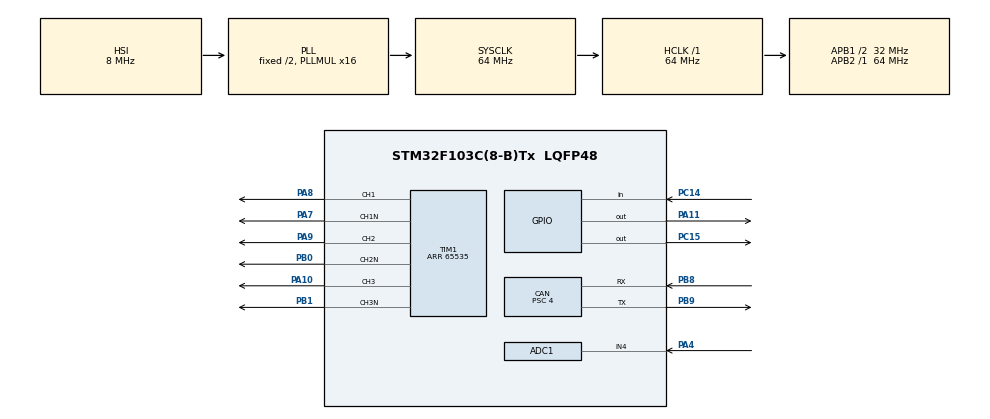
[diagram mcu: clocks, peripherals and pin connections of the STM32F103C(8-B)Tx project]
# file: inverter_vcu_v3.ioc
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ADC1.Channel-0\#ChannelRegularConversion=ADC_CHANNEL_4
ADC1.NbrOfConversionFlag=1
ADC1.Rank-0\#ChannelRegularConversion=1
ADC1.SamplingTime-0\#ChannelRegularConversion=ADC_SAMPLETIME_1CYCLE_5
ADC1.master=1
CAN.BS1=CAN_BS1_13TQ
CAN.BS2=CAN_BS2_2TQ
CAN.CalculateBaudRate=500000
CAN.CalculateTimeBit=2000
CAN.CalculateTimeQuantum=125.0
CAN.Prescaler=4
Mcu.Family=STM32F1
Mcu.Name=STM32F103C(8-B)Tx
Mcu.Package=LQFP48
NVIC.CAN1_RX1_IRQn=true\:0\:0\:false\:false\:true\:true\:true\:true
NVIC.PriorityGroup=NVIC_PRIORITYGROUP_4
NVIC.TIM1_UP_IRQn=true\:0\:0\:false\:false\:true\:true\:true\:true
NVIC.USB_LP_CAN1_RX0_IRQn=true\:0\:0\:false\:false\:true\:true\:true\:true
PA10.Signal=S_TIM1_CH3
PA11.Signal=GPIO_Output
PA4.Signal=ADCx_IN4
PA7.Mode=PWM Generation1 CH1 CH1N
PA7.Signal=TIM1_CH1N
PA8.Signal=S_TIM1_CH1
PA9.Signal=S_TIM1_CH2
PB0.Mode=PWM Generation2 CH2 CH2N
PB0.Signal=TIM1_CH2N
PB1.Mode=PWM Generation3 CH3 CH3N
PB1.Signal=TIM1_CH3N
PB8.Mode=CAN_Activate
PB8.Signal=CAN_RX
PB9.Mode=CAN_Activate
PB9.Signal=CAN_TX
PC14-OSC32_IN.Signal=GPIO_Input
PC15-OSC32_OUT.Signal=GPIO_Output
ProjectManager.HeapSize=0x200
ProjectManager.StackSize=0x400
ProjectManager.TargetToolchain=STM32CubeIDE
RCC.ADCPresc=RCC_ADCPCLK2_DIV6
RCC.AHBFreq_Value=64000000
RCC.APB1CLKDivider=RCC_HCLK_DIV2
RCC.APB1Freq_Value=32000000
RCC.APB1TimFreq_Value=64000000
RCC.APB2Freq_Value=64000000
RCC.APB2TimFreq_Value=64000000
RCC.HCLKFreq_Value=64000000
RCC.HSE_VALUE=16000000
RCC.PLLMUL=RCC_PLL_MUL16
RCC.SYSCLKFreq_VALUE=64000000
RCC.SYSCLKSource=RCC_SYSCLKSOURCE_PLLCLK
RCC.USBFreq_Value=64000000
SH.ADCx_IN4.0=ADC1_IN4,IN4
SH.S_TIM1_CH1.0=TIM1_CH1,PWM Generation1 CH1 CH1N
SH.S_TIM1_CH2.0=TIM1_CH2,PWM Generation2 CH2 CH2N
SH.S_TIM1_CH3.0=TIM1_CH3,PWM Generation3 CH3 CH3N
TIM1.AutoReloadPreload=TIM_AUTORELOAD_PRELOAD_DISABLE
TIM1.AutomaticOutput=TIM_AUTOMATICOUTPUT_DISABLE
TIM1.BreakState=TIM_BREAK_DISABLE
TIM1.Channel-PWM\ Generation1\ CH1\ CH1N=TIM_CHANNEL_1
TIM1.Channel-PWM\ Generation2\ CH2\ CH2N=TIM_CHANNEL_2
TIM1.Channel-PWM\ Generation3\ CH3\ CH3N=TIM_CHANNEL_3
TIM1.DeadTime=150
TIM1.OCMode_PWM-PWM\ Generation1\ CH1\ CH1N=TIM_OCMODE_PWM1
TIM1.OCNIdleState_1=TIM_OCNIDLESTATE_RESET
TIM1.OCNIdleState_2=TIM_OCNIDLESTATE_RESET
TIM1.OCNIdleState_3=TIM_OCNIDLESTATE_RESET
TIM1.OCNPolarity_1=TIM_OCNPOLARITY_HIGH
TIM1.OCNPolarity_2=TIM_OCNPOLARITY_HIGH
TIM1.OCNPolarity_3=TIM_OCNPOLARITY_HIGH
TIM1.Period=65535
TIM1.TIM_MasterSlaveMode=TIM_MASTERSLAVEMODE_DISABLE
VP_SYS_VS_ND.Mode=No_Debug
VP_TIM1_VS_ClockSourceINT.Mode=Internal
board=custom

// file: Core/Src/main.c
/* USER CODE BEGIN Header */
/**
  ******************************************************************************
  * @file           : main.c
  * @brief          : Main program body
  ******************************************************************************
  * @attention
  *
  * Copyright (c) 2023 STMicroelectronics.
  * All rights reserved.
  *
  * This software is licensed under terms that can be found in the LICENSE file
  * in the root directory of this software component.
  * If no LICENSE file comes with this software, it is provided AS-IS.
  *
  ******************************************************************************
  */
/* USER CODE END Header */
#include "main.h"

/* USER CODE BEGIN Includes */
#include <stdbool.h>

#include "string.h"
#include "stdio.h"
#include "math.h"
#include "stdlib.h"

/* USER CODE END Includes */

/* USER CODE BEGIN PTD */

enum ERROR_CODE{
	CAN_ERROR,
	TEMP_ERROR,
	PRESSURE_1_ERROR,
	IMD_ERROR,
	MVCU_ERROR
};

/* USER CODE END PTD */

ADC_HandleTypeDef hadc1;

CAN_HandleTypeDef hcan;

TIM_HandleTypeDef htim1;

/* USER CODE BEGIN PV */

CAN_RxHeaderTypeDef RxHeader;
CAN_TxHeaderTypeDef TxHeader;
uint32_t TxMailbox;
uint8_t CAN_DATA_BUFF[8];
uint8_t CAN_DATA_Tx[8];
volatile uint8_t temp1;
volatile uint8_t temp1_arr[2];

int START_FLAG = 0;
uint8_t SYSTEM_STATE = 0;
int ERROR_CODE = '0';

HAL_StatusTypeDef ret;

uint16_t samples;
uint16_t * lookUp;
uint16_t num1 = 0, num2, num3;
uint16_t count = 0;
bool directionReversed = false;
uint8_t sw, frequency, amplitude;

/* USER CODE END PV */

void SystemClock_Config(void);
static void MX_GPIO_Init(void);
static void MX_TIM1_Init(void);
static void MX_ADC1_Init(void);
static void MX_CAN_Init(void);
/* USER CODE BEGIN PFP */
void startSPWM(float switchingFreq, float sinFreq, float amp, bool reversed);
void invCommand(uint8_t sw1, uint8_t amplitude1, uint8_t frequency1);
void stopSPWM();
void ERROR_FUNCTION(int error_code);
uint8_t getTemp(uint8_t a);
/* USER CODE END PFP */

/* USER CODE BEGIN 0 */

void HAL_CAN_RxFifo0MsgPendingCallback(CAN_HandleTypeDef *hcan){

	if(HAL_CAN_GetRxMessage(hcan, CAN_RX_FIFO0, &RxHeader, CAN_DATA_BUFF) != HAL_OK){
		ERROR_FUNCTION(CAN_ERROR);
	}
	invCommand(CAN_DATA_BUFF[0],CAN_DATA_BUFF[2] , CAN_DATA_BUFF[1]);
	/*switch(CAN_DATA_BUFF[0]){
		case 0: SYSTEM_STATE = 0;
				invCommand(0, 0, 0);
				break;

		case 1: SYSTEM_STATE = 1;
				uint8_t freq;
				switch(CAN_DATA_BUFF[1]){
					case 1: freq  = 10;
					case 2: freq = 15;
					case 3: freq = 20;
					case 4: freq = 25;
					case 5: freq = 30;
					case 6: freq = 35;
					case 7: freq = 40;
					case 8: freq = 45;
					case 9: freq = 50;
					default: freq = 0;
				}
				uint8_t amp = CAN_DATA_BUFF[2] / 10;
				invCommand(1, amp, freq);
				break;

		case 2: SYSTEM_STATE = 2;
				invCommand(0, 0, 0);
				break;

		default:invCommand(0, 0, 0);
				break;
	}*/

}

/*void HAL_CAN_RxFifo1MsgPendingCallback(CAN_HandleTypeDef *hcan){

	uint8_t imd_can[8];

	if(HAL_CAN_GetRxMessage(hcan, CAN_RX_FIFO1, &RxHeader, imd_can) != HAL_OK){
		ERROR_FUNCTION(CAN_ERROR);
	}
	if(RxHeader.StdId == 0x37){
		if(imd_can[2] != 0){
			ERROR_FUNCTION(IMD_ERROR);
		}
		else if(imd_can[3] != 0){
			ERROR_FUNCTION(IMD_ERROR);
		}
	}
	CAN_DATA_Tx[5] = '0';
	CAN_DATA_Tx[6] = '0';

}*/

uint8_t getTemp(uint8_t a){
	float adc_val;
 	float beta_val=4304.05;
	float Vin= 5.00;
	float Rs=20000.00;
	float R25=32762.00;

	ret = HAL_ADC_Start(&hadc1);
		if(ret != HAL_OK)
		{
			return -1;
		}
	  ret = HAL_ADC_PollForConversion(&hadc1, 50);
		if(ret != HAL_OK)
		{
			return -1;
		}
	  adc_val = HAL_ADC_GetValue(&hadc1); // get the adc value
	  float Vout = adc_val * (Vin/4095.00); //4095 = 12 bit resolution
	  float Rt = (Vout * Rs) / (Vin - Vout);
	  float temperature = (1/((1/298.15)+(log(Rt/R25)/beta_val))-272.5);

	//if(a == 1){
		//uint8_t temp1 = 28;
	    uint8_t temp1 = temperature;
		if(temp1>40){
			CAN_DATA_Tx[1] = 2;					//using 2 for temp1 error
		}
		temp1_arr[1] = temp1%10; 				//first digit(tens place)
 		temp1_arr[0] = temp1 - temp1_arr[1];	//second digit (one's place)
		temp1_arr[0] = temp1_arr[0]/10;

		temp1_arr[1] = temp1_arr[1] + '0';		//ascii value of resp dec value taken
		temp1_arr[0] = temp1_arr[0] + '0';

		return temp1;
	//}

}

void ERROR_FUNCTION(int error_code){
	//HAL_GPIO_WritePin(GPIOA, GPIO_PIN_6, GPIO_PIN_RESET);
	invCommand(0, 0, 0);
	SYSTEM_STATE = 0;
	CAN_DATA_Tx[0] = SYSTEM_STATE;
	CAN_DATA_Tx[1] = error_code;
	HAL_CAN_AddTxMessage(&hcan, &TxHeader, CAN_DATA_Tx, &TxMailbox);
	__disable_irq();
	while(1){
		HAL_GPIO_TogglePin(GPIOB, GPIO_PIN_12);
		HAL_GPIO_TogglePin(GPIOB, GPIO_PIN_13);
		HAL_GPIO_TogglePin(GPIOB, GPIO_PIN_14);
		HAL_GPIO_TogglePin(GPIOB, GPIO_PIN_15);
		HAL_GPIO_TogglePin(GPIOB, GPIO_PIN_2);
		HAL_Delay(50);

		/*HAL_GPIO_WritePin(GPIOB, GPIO_PIN_12, GPIO_PIN_SET);
		HAL_GPIO_WritePin(GPIOB, GPIO_PIN_13, GPIO_PIN_SET);
		HAL_GPIO_WritePin(GPIOB, GPIO_PIN_14, GPIO_PIN_SET);
		HAL_GPIO_WritePin(GPIOB, GPIO_PIN_15, GPIO_PIN_SET);
		HAL_GPIO_WritePin(GPIOB, GPIO_PIN_2, GPIO_PIN_SET);*/
	}
}
/* USER CODE END 0 */

int main(void)
{

  /* MCU Configuration--------------------------------------------------------*/

  /* Reset of all peripherals, Initializes the Flash interface and the Systick. */
  HAL_Init();

  /* Configure the system clock */
  SystemClock_Config();

  /* Initialize all configured peripherals */
  MX_GPIO_Init();
  MX_TIM1_Init();
  MX_ADC1_Init();
  MX_CAN_Init();
  /* USER CODE BEGIN 2 */

    HAL_CAN_Start(&hcan);
    HAL_CAN_ActivateNotification(&hcan, CAN_IT_RX_FIFO0_MSG_PENDING);

    CAN_DATA_Tx[4] = ',';
    CAN_DATA_Tx[7] = ',';
    TxHeader.DLC = 8;
  	TxHeader.StdId = 0x302;
  	TxHeader.IDE = CAN_ID_STD;
  	TxHeader.RTR = CAN_RTR_DATA;

  /* USER CODE END 2 */

  /* Infinite loop */
  /* USER CODE BEGIN WHILE */
  while (1)
  {

	  /*if(HAL_GPIO_ReadPin(GPIOC, GPIO_PIN_14)!= GPIO_PIN_SET){
	 		  ERROR_FUNCTION(MVCU_ERROR);
	 	  }*/
	  while(SYSTEM_STATE == 1){
		  /*if(HAL_GPIO_ReadPin(GPIOC, GPIO_PIN_14)!= GPIO_PIN_SET){
		  	 		  ERROR_FUNCTION(MVCU_ERROR);
		  	 	  }*/
	  		  temp1 = getTemp(1);

	  		  CAN_DATA_Tx[0] = SYSTEM_STATE;
	  		  CAN_DATA_Tx[1] = ERROR_CODE;
	  		  CAN_DATA_Tx[2] = temp1_arr[0];
	  		  CAN_DATA_Tx[3] = temp1_arr[1];

	  		  if(HAL_CAN_AddTxMessage(&hcan, &TxHeader, CAN_DATA_Tx, &TxMailbox) != HAL_OK){
	  			  ERROR_FUNCTION(CAN_ERROR);
	  		  }
	  		HAL_GPIO_WritePin(GPIOC, GPIO_PIN_15, GPIO_PIN_SET);
	  		  HAL_Delay(150);
	  	  }
	  	  while(SYSTEM_STATE == 2){
	  		/*if(HAL_GPIO_ReadPin(GPIOC, GPIO_PIN_14)!= GPIO_PIN_SET){
	  			 		  ERROR_FUNCTION(MVCU_ERROR);
	  			 	  }*/
	  		  temp1 = getTemp(1);

	  		  CAN_DATA_Tx[0] = SYSTEM_STATE;
	  		  CAN_DATA_Tx[1] = ERROR_CODE;
	  		  CAN_DATA_Tx[2] = temp1_arr[0];
	  		  CAN_DATA_Tx[3] = temp1_arr[1];

	  		  if(HAL_CAN_AddTxMessage(&hcan, &TxHeader, CAN_DATA_Tx, &TxMailbox) != HAL_OK){
	  			  ERROR_FUNCTION(CAN_ERROR);
	  		  }
	  		  HAL_GPIO_TogglePin(GPIOC, GPIO_PIN_15);
	  		  HAL_Delay(750);
	  	  }
	  	  if(SYSTEM_STATE == 0){
	  		/*if(HAL_GPIO_ReadPin(GPIOC, GPIO_PIN_14)!= GPIO_PIN_SET){
	  			 		  ERROR_FUNCTION(MVCU_ERROR);
	  			 	  }*/

	  			HAL_GPIO_WritePin(GPIOC, GPIO_PIN_15, GPIO_PIN_RESET);
	  	  }

    /* USER CODE END WHILE */

    /* USER CODE BEGIN 3 */

	 /* for (float f = 10; f < 300; f+=10) {
		  startSPWM(f*100, f, (f / 450.0) + 0.25);
		  HAL_Delay(200);
	  }
	  for (float f = 300; f > 10; f-=10) {
	  		  startSPWM(f * 100, f, (f / 450.0) + 0.25);
	  		  HAL_Delay(200);
	  	  }*/

  }
  /* USER CODE END 3 */
}

void SystemClock_Config(void)
{
  RCC_OscInitTypeDef RCC_OscInitStruct = {0};
  RCC_ClkInitTypeDef RCC_ClkInitStruct = {0};
  RCC_PeriphCLKInitTypeDef PeriphClkInit = {0};

  /** Initializes the RCC Oscillators according to the specified parameters
  * in the RCC_OscInitTypeDef structure.
  */
  RCC_OscInitStruct.OscillatorType = RCC_OSCILLATORTYPE_HSI;
  RCC_OscInitStruct.HSIState = RCC_HSI_ON;
  RCC_OscInitStruct.HSICalibrationValue = RCC_HSICALIBRATION_DEFAULT;
  RCC_OscInitStruct.PLL.PLLState = RCC_PLL_ON;
  RCC_OscInitStruct.PLL.PLLSource = RCC_PLLSOURCE_HSI_DIV2;
  RCC_OscInitStruct.PLL.PLLMUL = RCC_PLL_MUL16;
  if (HAL_RCC_OscConfig(&RCC_OscInitStruct) != HAL_OK)
  {
    Error_Handler();
  }

  /** Initializes the CPU, AHB and APB buses clocks
  */
  RCC_ClkInitStruct.ClockType = RCC_CLOCKTYPE_HCLK|RCC_CLOCKTYPE_SYSCLK
                              |RCC_CLOCKTYPE_PCLK1|RCC_CLOCKTYPE_PCLK2;
  RCC_ClkInitStruct.SYSCLKSource = RCC_SYSCLKSOURCE_PLLCLK;
  RCC_ClkInitStruct.AHBCLKDivider = RCC_SYSCLK_DIV1;
  RCC_ClkInitStruct.APB1CLKDivider = RCC_HCLK_DIV2;
  RCC_ClkInitStruct.APB2CLKDivider = RCC_HCLK_DIV1;

  if (HAL_RCC_ClockConfig(&RCC_ClkInitStruct, FLASH_LATENCY_2) != HAL_OK)
  {
    Error_Handler();
  }
  PeriphClkInit.PeriphClockSelection = RCC_PERIPHCLK_ADC;
  PeriphClkInit.AdcClockSelection = RCC_ADCPCLK2_DIV6;
  if (HAL_RCCEx_PeriphCLKConfig(&PeriphClkInit) != HAL_OK)
  {
    Error_Handler();
  }
}

static void MX_ADC1_Init(void)
{

  ADC_ChannelConfTypeDef sConfig = {0};

  /** Common config
  */
  hadc1.Instance = ADC1;
  hadc1.Init.ScanConvMode = ADC_SCAN_DISABLE;
  hadc1.Init.ContinuousConvMode = DISABLE;
  hadc1.Init.DiscontinuousConvMode = DISABLE;
  hadc1.Init.ExternalTrigConv = ADC_SOFTWARE_START;
  hadc1.Init.DataAlign = ADC_DATAALIGN_RIGHT;
  hadc1.Init.NbrOfConversion = 1;
  if (HAL_ADC_Init(&hadc1) != HAL_OK)
  {
    Error_Handler();
  }

  /** Configure Regular Channel
  */
  sConfig.Channel = ADC_CHANNEL_4;
  sConfig.Rank = ADC_REGULAR_RANK_1;
  sConfig.SamplingTime = ADC_SAMPLETIME_1CYCLE_5;
  if (HAL_ADC_ConfigChannel(&hadc1, &sConfig) != HAL_OK)
  {
    Error_Handler();
  }

}

static void MX_CAN_Init(void)
{

  hcan.Instance = CAN1;
  hcan.Init.Prescaler = 4;
  hcan.Init.Mode = CAN_MODE_NORMAL;
  hcan.Init.SyncJumpWidth = CAN_SJW_1TQ;
  hcan.Init.TimeSeg1 = CAN_BS1_13TQ;
  hcan.Init.TimeSeg2 = CAN_BS2_2TQ;
  hcan.Init.TimeTriggeredMode = DISABLE;
  hcan.Init.AutoBusOff = DISABLE;
  hcan.Init.AutoWakeUp = DISABLE;
  hcan.Init.AutoRetransmission = DISABLE;
  hcan.Init.ReceiveFifoLocked = DISABLE;
  hcan.Init.TransmitFifoPriority = DISABLE;
  if (HAL_CAN_Init(&hcan) != HAL_OK)
  {
    Error_Handler();
  }
  /* USER CODE BEGIN CAN_Init 2 */

  	  CAN_FilterTypeDef CAN_Filter;

    	CAN_Filter.FilterActivation = CAN_FILTER_ENABLE;
    	CAN_Filter.FilterBank  = 10;
    	CAN_Filter.FilterFIFOAssignment = CAN_RX_FIFO0;
  	//CAN_Filter.FilterIdHigh = 0x0000;
    	CAN_Filter.FilterIdHigh = 0x103<<5;
    	CAN_Filter.FilterIdLow = 0x0000;
  	//CAN_Filter.FilterMaskIdHigh = 0X0000;
    	CAN_Filter.FilterMaskIdHigh = 0x103<<5;
    	CAN_Filter.FilterMaskIdLow = 0x0000;
    	CAN_Filter.FilterMode = CAN_FILTERMODE_IDMASK;
    	CAN_Filter.FilterScale = CAN_FILTERSCALE_32BIT;

  	if( HAL_CAN_ConfigFilter(&hcan,&CAN_Filter) != HAL_OK)
  	{
  		Error_Handler();
  	}

  	/*CAN_FilterTypeDef CAN_Filter_IMD;

  	CAN_Filter_IMD.FilterActivation = CAN_FILTER_ENABLE;
  	CAN_Filter_IMD.FilterBank  = 10;
  	CAN_Filter_IMD.FilterFIFOAssignment = CAN_RX_FIFO1;
	//CAN_Filter_IMD.FilterIdHigh = 0x0000;
  	CAN_Filter_IMD.FilterIdHigh = 0x037<<5;
  	CAN_Filter_IMD.FilterIdLow = 0x0000;
	//CAN_Filter_IMD.FilterMaskIdHigh = 0X0000;
  	CAN_Filter_IMD.FilterMaskIdHigh = 0x037<<5;
  	CAN_Filter_IMD.FilterMaskIdLow = 0x0000;
  	CAN_Filter_IMD.FilterMode = CAN_FILTERMODE_IDMASK;
  	CAN_Filter_IMD.FilterScale = CAN_FILTERSCALE_32BIT;

	if( HAL_CAN_ConfigFilter(&hcan,&CAN_Filter_IMD) != HAL_OK)
	{
		Error_Handler();
	}*/

  /* USER CODE END CAN_Init 2 */

}

static void MX_TIM1_Init(void)
{

  TIM_ClockConfigTypeDef sClockSourceConfig = {0};
  TIM_MasterConfigTypeDef sMasterConfig = {0};
  TIM_OC_InitTypeDef sConfigOC = {0};
  TIM_BreakDeadTimeConfigTypeDef sBreakDeadTimeConfig = {0};

  htim1.Instance = TIM1;
  htim1.Init.Prescaler = 0;
  htim1.Init.CounterMode = TIM_COUNTERMODE_UP;
  htim1.Init.Period = 65535;
  htim1.Init.ClockDivision = TIM_CLOCKDIVISION_DIV1;
  htim1.Init.RepetitionCounter = 0;
  htim1.Init.AutoReloadPreload = TIM_AUTORELOAD_PRELOAD_DISABLE;
  if (HAL_TIM_Base_Init(&htim1) != HAL_OK)
  {
    Error_Handler();
  }
  sClockSourceConfig.ClockSource = TIM_CLOCKSOURCE_INTERNAL;
  if (HAL_TIM_ConfigClockSource(&htim1, &sClockSourceConfig) != HAL_OK)
  {
    Error_Handler();
  }
  if (HAL_TIM_PWM_Init(&htim1) != HAL_OK)
  {
    Error_Handler();
  }
  sMasterConfig.MasterOutputTrigger = TIM_TRGO_RESET;
  sMasterConfig.MasterSlaveMode = TIM_MASTERSLAVEMODE_DISABLE;
  if (HAL_TIMEx_MasterConfigSynchronization(&htim1, &sMasterConfig) != HAL_OK)
  {
    Error_Handler();
  }
  sConfigOC.OCMode = TIM_OCMODE_PWM1;
  sConfigOC.Pulse = 0;
  sConfigOC.OCPolarity = TIM_OCPOLARITY_HIGH;
  sConfigOC.OCNPolarity = TIM_OCNPOLARITY_HIGH;
  sConfigOC.OCFastMode = TIM_OCFAST_DISABLE;
  sConfigOC.OCIdleState = TIM_OCIDLESTATE_RESET;
  sConfigOC.OCNIdleState = TIM_OCNIDLESTATE_RESET;
  if (HAL_TIM_PWM_ConfigChannel(&htim1, &sConfigOC, TIM_CHANNEL_1) != HAL_OK)
  {
    Error_Handler();
  }
  if (HAL_TIM_PWM_ConfigChannel(&htim1, &sConfigOC, TIM_CHANNEL_2) != HAL_OK)
  {
    Error_Handler();
  }
  if (HAL_TIM_PWM_ConfigChannel(&htim1, &sConfigOC, TIM_CHANNEL_3) != HAL_OK)
  {
    Error_Handler();
  }
  sBreakDeadTimeConfig.OffStateRunMode = TIM_OSSR_DISABLE;
  sBreakDeadTimeConfig.OffStateIDLEMode = TIM_OSSI_DISABLE;
  sBreakDeadTimeConfig.LockLevel = TIM_LOCKLEVEL_OFF;
  sBreakDeadTimeConfig.DeadTime = 150;
  sBreakDeadTimeConfig.BreakState = TIM_BREAK_DISABLE;
  sBreakDeadTimeConfig.BreakPolarity = TIM_BREAKPOLARITY_HIGH;
  sBreakDeadTimeConfig.AutomaticOutput = TIM_AUTOMATICOUTPUT_DISABLE;
  if (HAL_TIMEx_ConfigBreakDeadTime(&htim1, &sBreakDeadTimeConfig) != HAL_OK)
  {
    Error_Handler();
  }
  /* USER CODE BEGIN TIM1_Init 2 */
  //TIM1->ARR = 14400;
  /* USER CODE END TIM1_Init 2 */
  HAL_TIM_MspPostInit(&htim1);

}

static void MX_GPIO_Init(void)
{
  GPIO_InitTypeDef GPIO_InitStruct = {0};

  /* GPIO Ports Clock Enable */
  __HAL_RCC_GPIOC_CLK_ENABLE();
  __HAL_RCC_GPIOA_CLK_ENABLE();
  __HAL_RCC_GPIOB_CLK_ENABLE();

  /*Configure GPIO pin Output Level */
  HAL_GPIO_WritePin(GPIOC, GPIO_PIN_15, GPIO_PIN_RESET);

  /*Configure GPIO pin Output Level */
  HAL_GPIO_WritePin(GPIOA, GPIO_PIN_11, GPIO_PIN_RESET);

  /*Configure GPIO pin : PC14 */
  GPIO_InitStruct.Pin = GPIO_PIN_14;
  GPIO_InitStruct.Mode = GPIO_MODE_INPUT;
  GPIO_InitStruct.Pull = GPIO_NOPULL;
  HAL_GPIO_Init(GPIOC, &GPIO_InitStruct);

  /*Configure GPIO pin : PC15 */
  GPIO_InitStruct.Pin = GPIO_PIN_15;
  GPIO_InitStruct.Mode = GPIO_MODE_OUTPUT_PP;
  GPIO_InitStruct.Pull = GPIO_NOPULL;
  GPIO_InitStruct.Speed = GPIO_SPEED_FREQ_LOW;
  HAL_GPIO_Init(GPIOC, &GPIO_InitStruct);

  /*Configure GPIO pin : PA11 */
  GPIO_InitStruct.Pin = GPIO_PIN_11;
  GPIO_InitStruct.Mode = GPIO_MODE_OUTPUT_PP;
  GPIO_InitStruct.Pull = GPIO_NOPULL;
  GPIO_InitStruct.Speed = GPIO_SPEED_FREQ_LOW;
  HAL_GPIO_Init(GPIOA, &GPIO_InitStruct);

}

/* USER CODE BEGIN 4 */
void invCommand(uint8_t sw1, uint8_t amplitude1, uint8_t frequency1) {

	sw = sw1;
	amplitude = amplitude1;
	frequency = (frequency1 * 5) + 5;

}
void startSPWM(float switchingFreq, float sinFreq, float amp, bool reversed) { //amp 0 to 1 and sinfrq > 0.01 to 10000 and switchingfreq from 100+
	HAL_TIM_PWM_Stop(&htim1, TIM_CHANNEL_1);//max switching freq to sinfreq ratio is 25000
	HAL_TIMEx_PWMN_Stop(&htim1, TIM_CHANNEL_1);
	HAL_TIM_PWM_Stop(&htim1, TIM_CHANNEL_2);
	HAL_TIMEx_PWMN_Stop(&htim1, TIM_CHANNEL_2);
	HAL_TIM_PWM_Stop(&htim1, TIM_CHANNEL_3);
	HAL_TIMEx_PWMN_Stop(&htim1, TIM_CHANNEL_3);
	__HAL_TIM_DISABLE_IT(&htim1, TIM_IT_UPDATE);
	directionReversed = reversed;

	if (sinFreq < 0.1) {
		TIM1-> PSC = (0.4 / sinFreq) - 1.0;
		sinFreq = 0.4;
		switchingFreq *= TIM1->PSC;

	}
	else {
		TIM1-> PSC = 0;
	}
	samples = switchingFreq/sinFreq;
	while (samples > 25000) {
		switchingFreq-=1;
		samples = switchingFreq/sinFreq;
	}
	TIM1->ARR = HAL_RCC_GetPCLK2Freq() / (samples * sinFreq);
	samples /= 3;
	amp *= 1;
	count = 0;
	num1 = 0;
	free(lookUp);
	lookUp = (uint16_t *)malloc(samples * sizeof(samples));
	for (uint16_t i = 0; i < samples; i++) {
		lookUp[i] = (sin(2 * 3.14 * ((double)i/(double)samples)) * (TIM1->ARR / 2.05)) * amp  + (TIM1->ARR / 2);
	}
	  __HAL_TIM_ENABLE_IT(&htim1, TIM_IT_UPDATE );
	  HAL_TIM_PWM_Start(&htim1, TIM_CHANNEL_1);
	  HAL_TIMEx_PWMN_Start(&htim1, TIM_CHANNEL_1);
	  HAL_TIM_PWM_Start(&htim1, TIM_CHANNEL_2);
	  HAL_TIMEx_PWMN_Start(&htim1, TIM_CHANNEL_2);
	  HAL_TIM_PWM_Start(&htim1, TIM_CHANNEL_3);
	  HAL_TIMEx_PWMN_Start(&htim1, TIM_CHANNEL_3);
}
void stopSPWM() {
	HAL_TIM_PWM_Stop(&htim1, TIM_CHANNEL_1);
	HAL_TIMEx_PWMN_Stop(&htim1, TIM_CHANNEL_1);
	HAL_TIM_PWM_Stop(&htim1, TIM_CHANNEL_2);
	HAL_TIMEx_PWMN_Stop(&htim1, TIM_CHANNEL_2);
	HAL_TIM_PWM_Stop(&htim1, TIM_CHANNEL_3);
	HAL_TIMEx_PWMN_Stop(&htim1, TIM_CHANNEL_3);
	__HAL_TIM_DISABLE_IT(&htim1, TIM_IT_UPDATE);
}
/* USER CODE END 4 */

void Error_Handler(void)
{
  __disable_irq();
  while (1)
  {
  }
}
